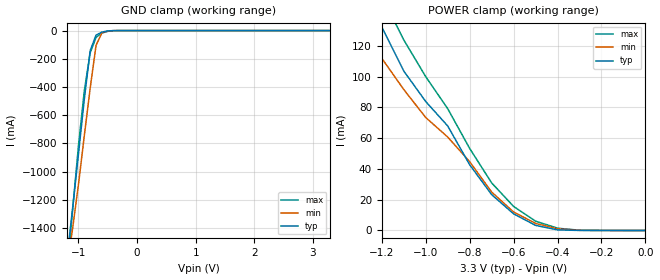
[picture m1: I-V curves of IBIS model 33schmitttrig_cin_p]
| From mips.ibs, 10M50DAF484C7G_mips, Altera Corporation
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|MODEL 33schmitttrig_cin_p
[Model]   33schmitttrig_cin_p
Model_type   Input
Polarity   Non-Inverting
Vinl   = 0.800
Vinh   = 1.700
C_comp 4.5pF   4.5pF   4.5pF
[Model Spec]
Vinh   1.700   1.700   1.700
Vinl   0.800   0.800   0.800
[Temperature Range]   25   85   0
[Voltage Range]   3.300   3.085   3.465
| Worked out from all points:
|   GND clamp passes 1 mA (typ) near -0.44 V on its own axis
|   POWER clamp passes 1 mA (typ) near -0.42 V on its own axis
[GND Clamp]
| voltage   I (typ)   I (min)   I (max)
-3.3V     -8.619A    -7.723A    -10.11A
-1.2V     -1.623A    -1.685A    -1.728A
-1.1V     -1.258A    -1.401A    -1.271A
-1V       -874.3mA   -1.09A     -814.9mA
-900mV    -483mA     -743mA     -424.7mA
-800mV    -141mA     -406.5mA   -156.9mA
-700mV    -32.06mA   -104.1mA   -47.73mA
-600mV    -10.6mA    -15.56mA   -17.79mA
-500mV    -2.181mA   -3.118mA   -5.472mA
-400mV    -180.7uA   -399.8uA   -1.032mA
3.3V      0A         0A         0A
[Power Clamp]
| voltage   I (typ)   I (min)   I (max)
-3.3V     557.2mA    479.9mA    642.4mA
-1.4V     165.1mA    143.8mA    193.2mA
-1.3V     145.9mA    126mA      171.4mA
-1.2V     132.2mA    111.9mA    152.2mA
-1.1V     103.6mA    91.57mA    123.8mA
-1V       83.78mA    73.38mA    99.91mA
-900mV    67.9mA     60.7mA     79.13mA
-800mV    42.69mA    44.68mA    53.29mA
-700mV    23.3mA     24.96mA    30.9mA
-600mV    10.8mA     11.98mA    15.6mA
-400mV    388.6uA    1.05mA     1.475mA
0V        0A         0A         0A
